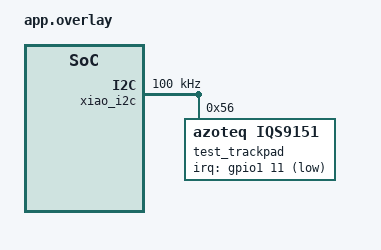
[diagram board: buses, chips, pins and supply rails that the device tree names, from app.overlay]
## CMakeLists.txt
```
cmake_minimum_required(VERSION 3.20.0)
get_filename_component(IQS9151_MODULE ${CMAKE_CURRENT_LIST_DIR}/../.. REALPATH)
list(APPEND ZEPHYR_EXTRA_MODULES ${IQS9151_MODULE})
find_package(Zephyr REQUIRED HINTS $ENV{ZEPHYR_BASE})
project(iqs9151_build)
target_sources(app PRIVATE src/main.c)
```

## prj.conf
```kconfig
CONFIG_GPIO=y
CONFIG_I2C=y
CONFIG_INPUT=y
CONFIG_INPUT_IQS9151=y
CONFIG_INPUT_IQS9151_TPS43_A2=y
CONFIG_LOG=y
CONFIG_INPUT_IQS9151_LOG_LEVEL=3
CONFIG_CONSOLE=n
CONFIG_UART_CONSOLE=n
CONFIG_SERIAL=n
```

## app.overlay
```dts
/* Compile-test pin assignment only; not a Corcell wiring prescription. */
&uart0 { status = "disabled"; };
&xiao_i2c {
    status = "okay";
    clock-frequency = <100000>;
    test_trackpad: trackpad@56 {
        compatible = "azoteq,iqs9151";
        reg = <0x56>;
        irq-gpios = <&gpio1 11 GPIO_ACTIVE_LOW>;
    };
};
```

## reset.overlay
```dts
&test_trackpad {
    reset-gpios = <&gpio0 2 GPIO_ACTIVE_LOW>;
};
```

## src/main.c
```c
/* Compile test: a real DT driver instance, with or without reset-gpios. */
#include <zephyr/device.h>
#include <zephyr/kernel.h>
int main(void) {
    return device_is_ready(DEVICE_DT_GET(DT_NODELABEL(test_trackpad))) ? 0 : -1;
}
```
